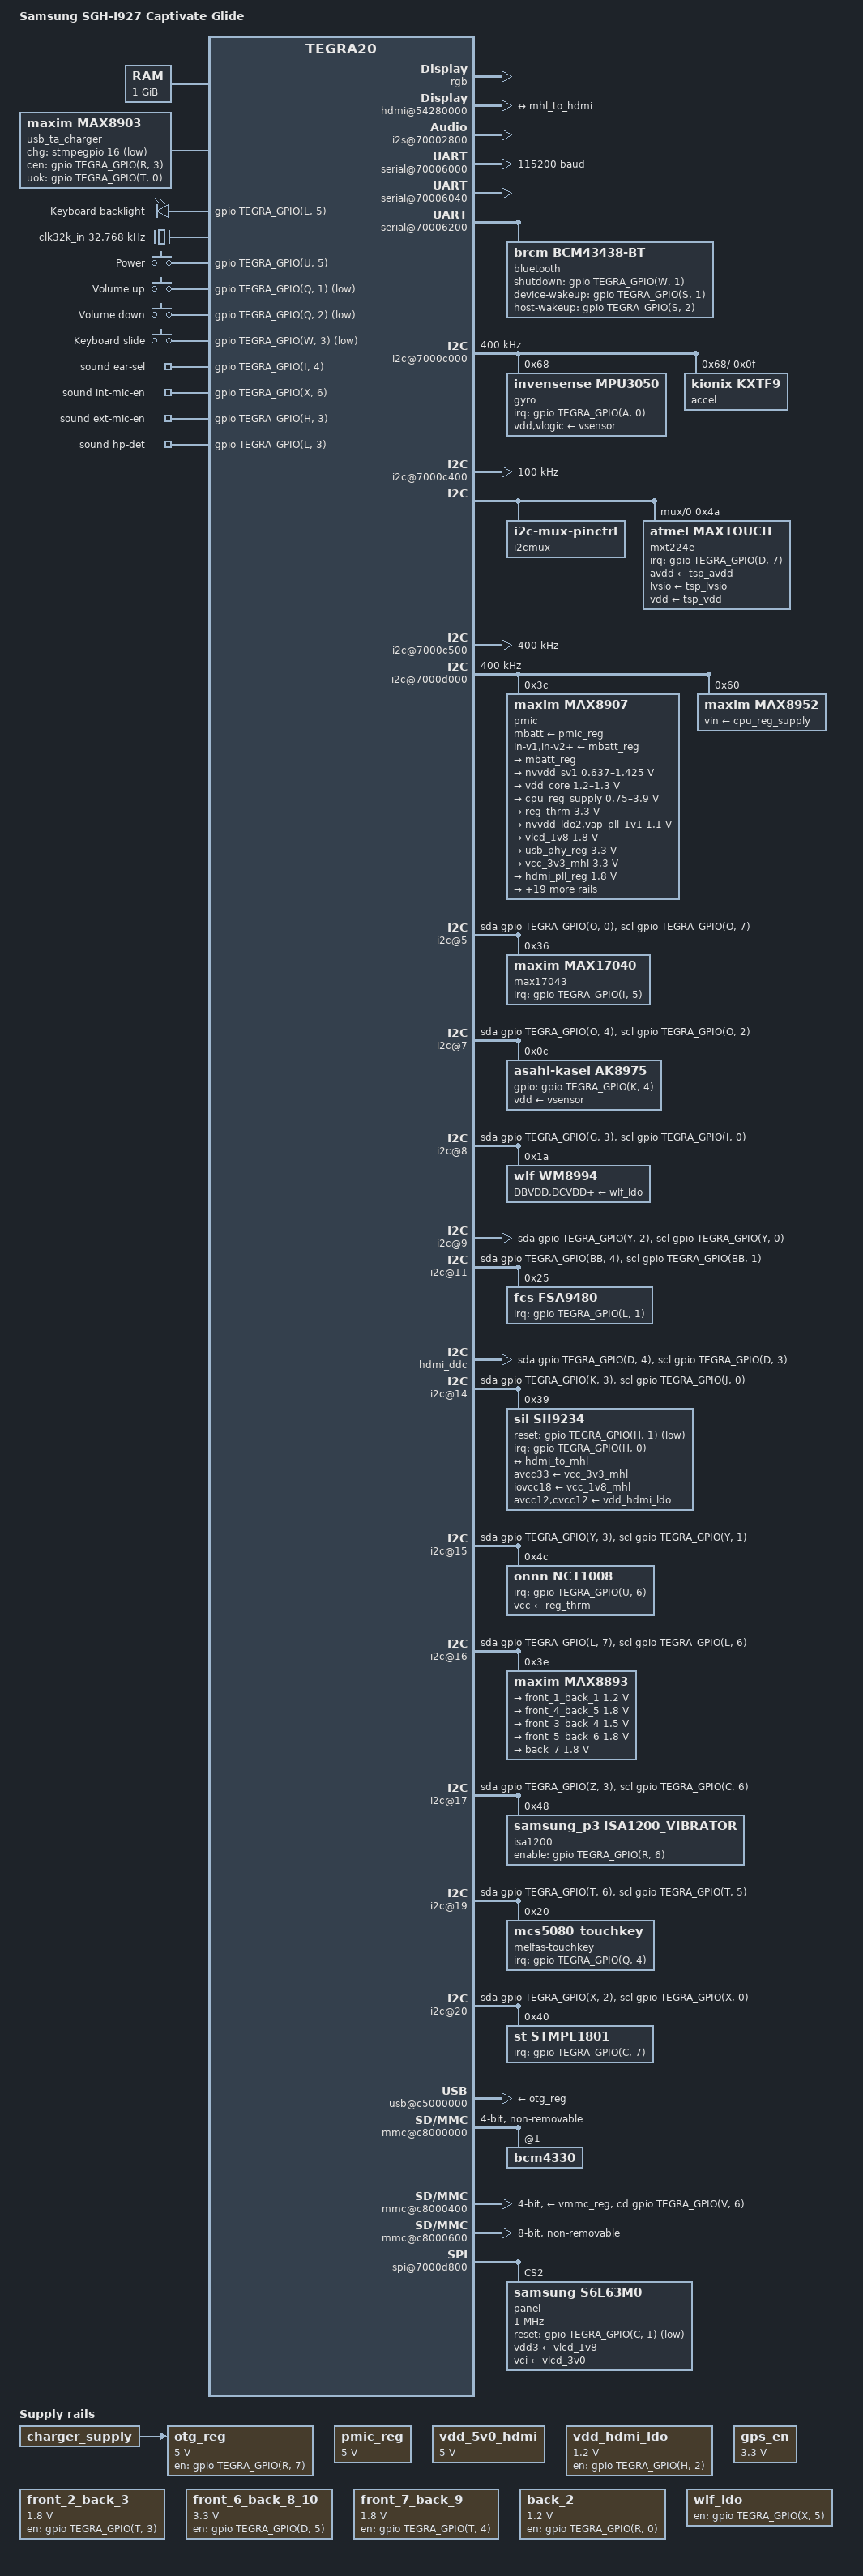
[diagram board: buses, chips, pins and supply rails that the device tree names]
// SPDX-License-Identifier: GPL-2.0
/dts-v1/;

#include <dt-bindings/input/input.h>
#include "tegra20.dtsi"

/ {
	model = "Samsung SGH-I927 Captivate Glide";
	compatible = "samsung,i927", "nvidia,tegra20";

	aliases {
		/* MAX8907 RTC seems to be broken here, so use Tegra's */
		rtc0 = "/rtc@7000e000";
		rtc1 = "/i2c@7000d000/max8907@3c";
		serial0 = &uartb;
		serial1 = &uarta;
		serial2 = &uartc;
	};

	chosen {
		stdout-path = "serial0:115200n8";
	};

	memory@0 {
		device_type = "memory";
		reg = <0x00000000 0x40000000>;
	};


	reserved-memory {
		#address-cells = <1>;
		#size-cells = <1>;
		ranges;

		/* bootloader reads/writes magic values in this region */
		bootloader_data: bootloader_data@1FF00000 {
			reg = <0x1FF00000 0x00100000>;
			no-map;
		};
	};

	host1x@50000000 {
		dc@54200000 {
			rgb {
				status = "okay";
				nvidia,panel = <&panel>;
			};
		};

		hdmi@54280000 {
			status = "okay";

			vdd-supply = <&hdmi_vdd_reg>;
			pll-supply = <&hdmi_pll_reg>;
			hdmi-supply = <&vdd_5v0_hdmi>;

			nvidia,ddc-i2c-bus = <&hdmi_ddc>;
			nvidia,hpd-gpio = <&gpio TEGRA_GPIO(N, 7) GPIO_ACTIVE_HIGH>;

			port {
				hdmi_to_mhl: endpoint {
					remote-endpoint = <&mhl_to_hdmi>;
				};
			};
		};
	};

	pinmux@70000014 {
		pinctrl-names = "default";
		pinctrl-0 = <&state_default>;

		state_default: pinmux {
			ata {
				nvidia,pins = "ata", "atc", "atd", "ate",
					"gmb", "gmd", "irrx", "irtx",
					"spid", "spie";
				nvidia,function = "gmi";
			};
			atb {
				nvidia,pins = "atb", "gma", "gme";
				nvidia,function = "sdio4";
			};
			cdev1 {
				nvidia,pins = "cdev1";
				nvidia,function = "plla_out";
			};
			cdev2 {
				nvidia,pins = "cdev2";
				nvidia,function = "pllp_out4";
			};
			crtp {
				nvidia,pins = "crtp";
				nvidia,function = "crt";
			};
			csus {
				nvidia,pins = "csus";
				nvidia,function = "vi_sensor_clk";
			};
			dap1 {
				nvidia,pins = "dap1";
				nvidia,function = "dap1";
			};
			dap2 {
				nvidia,pins = "dap2";
				nvidia,function = "dap2";
			};
			dap3 {
				nvidia,pins = "dap3";
				nvidia,function = "dap3";
			};
			dap4 {
				nvidia,pins = "dap4";
				nvidia,function = "dap4";
			};
			spif {
				nvidia,pins = "spif", "uac";
				nvidia,function = "rsvd4";
			};
			dta {
				nvidia,pins = "dta", "dtb", "dtc", "dtd", "dte";
				nvidia,function = "vi";
			};
			dtf {
				nvidia,pins = "dtf";
				nvidia,function = "i2c3";
			};
			gmc {
				nvidia,pins = "gmc";
				nvidia,function = "uartd";
			};
			gpu {
				nvidia,pins = "gpu", "uaa", "uab";
				nvidia,function = "uarta";
			};
			gpu7 {
				nvidia,pins = "gpu7";
				nvidia,function = "rtck";
			};
			gpv {
				nvidia,pins = "gpv", "slxa", "slxk";
				nvidia,function = "pcie";
			};
			hdint {
				nvidia,pins = "hdint", "spdi", "spdo";
				nvidia,function = "rsvd2";
			};
			i2cp {
				nvidia,pins = "i2cp";
				nvidia,function = "i2cp";
			};
			kbca {
				nvidia,pins = "kbca", "kbcb", "kbcc", "kbcd", "kbce", "kbcf";
				nvidia,function = "kbc";
			};
			lcsn {
				nvidia,pins = "lcsn", "lsck", "lsda", "lsdi";
				nvidia,function = "spi3";
			};
			ld0 {
				nvidia,pins = "ld0", "ld1", "ld2",
					"ld3", "ld4", "ld5", "ld6", "ld7",
					"ld8", "ld9", "ld10", "ld11", "ld12",
					"ld13", "ld14", "ld15", "ld16", "ld17",
					"ldc", "ldi", "lhp0", "lhp1", "lhp2",
					"lhs", "lm0", "lm1", "lpp", "lpw0",
					"lpw1", "lpw2", "lsc0", "lsc1", "lspi",
					"lvp0", "lvp1", "lvs";
				nvidia,function = "displaya";
			};
			owc {
				nvidia,pins = "owc";
				nvidia,function = "owr";
			};
			pmc {
				nvidia,pins = "pmc";
				nvidia,function = "pwr_on";
			};
			rm {
				nvidia,pins = "rm";
				nvidia,function = "i2c1";
			};
			sdb {
				nvidia,pins = "sdb", "sdc", "sdd";
				nvidia,function = "sdio3";
			};
			sdio1 {
				nvidia,pins = "sdio1";
				nvidia,function = "sdio1";
			};
			slxc {
				nvidia,pins = "slxc", "slxd";
				nvidia,function = "spi4";
			};
			spdi {
				nvidia,pins = "spdi", "spdo";
				nvidia,function = "rsvd2";
			};
			spig {
				nvidia,pins = "spig", "spih";
				nvidia,function = "spi2_alt";
			};
			uda {
				nvidia,pins = "uda";
				nvidia,function = "spi1";
			};
			uad {
				nvidia,pins = "uad";
				nvidia,function = "irda";
			};
			uca {
				nvidia,pins = "uca", "ucb";
				nvidia,function = "uartc";
			};
			spia {
				nvidia,pins = "spia", "spib", "spic";
				nvidia,function = "spi2";
			};
			conf_cdev1 {
				nvidia,pins = "cdev1", "cdev2", "dap1", "dap2",
					"dap3", "dap4", "ddc", "dte", "gma",
					"gmc", "gmd", "gme", "gpu7", "gpv",
					"i2cp", "pta", "rm", "sdio1", // "sdb",
					"uac", "uda";
				nvidia,pull = <TEGRA_PIN_PULL_NONE>;
				nvidia,tristate = <TEGRA_PIN_DISABLE>;
			};
			conf_ck32 {
				nvidia,pins = "ck32", "ddrc", "pmca", "pmcb",
					"pmcc", "pmcd", "xm2c", "xm2d";
				nvidia,pull = <TEGRA_PIN_PULL_NONE>;
			};
			conf_crtp {
				nvidia,pins = "crtp";
				nvidia,pull = <TEGRA_PIN_PULL_NONE>;
				nvidia,tristate = <TEGRA_PIN_ENABLE>;
			};
			conf_csus {
				nvidia,pins = "csus", "spid";
				nvidia,pull = <TEGRA_PIN_PULL_DOWN>;
				nvidia,tristate = <TEGRA_PIN_ENABLE>;
			};
			conf_ata {
				nvidia,pins = "ata", "atb", "atc", "ate",
					"dtf", "gmb", "gpu", "irrx", "irtx",
					"kbca", "kbcc", "kbcd", "kbce",
					"kbcf", "sdc", "sdd", "spdi",
					"spib", "spig", "spih", "uaa", "uab",
					"uad", "uca", "ucb";
				nvidia,pull = <TEGRA_PIN_PULL_UP>;
				nvidia,tristate = <TEGRA_PIN_DISABLE>;
			};
			conf_owc {
				nvidia,pins = "owc";
				nvidia,pull = <TEGRA_PIN_PULL_UP>;
				nvidia,tristate = <TEGRA_PIN_ENABLE>;
			};
			conf_hdint {
				nvidia,pins = "hdint", "lcsn", "lhs", "lm0",
					"lm1", "lpw1", "lsc0", "lsck", "lsda",
					"lsdi", "lspi", "lvs", "pmc", "sdb",
					"ldc", "lpw0", "lpw2", "lsc1", "ld0",
					"ld1", "ld10", "ld11", "ld12", "ld13",
					"ld14", "ld15", "ld16", "ld17", "ld2",
					"ld3", "ld4", "ld5", "ld6", "ld7",
					"ld8", "ld9", "ldi", "lhp0", "lhp1",
					"lhp2", "lpp", "lvp1";
				nvidia,tristate = <TEGRA_PIN_DISABLE>;
			};
			conf_lvp0 {
				nvidia,pins = "lvp0";
				nvidia,tristate = <TEGRA_PIN_ENABLE>;
			};
			conf_atd {
				nvidia,pins = "atd", "dta", "dtb", "dtc",
					"kbcb", "slxa", "slxc", "slxd", "slxk",
					"spdo", "spia", "spic", "spie", "spif";
				nvidia,pull = <TEGRA_PIN_PULL_DOWN>;
				nvidia,tristate = <TEGRA_PIN_DISABLE>;
			};
			conf_pmce {
				nvidia,pins = "pmce";
				nvidia,pull = <TEGRA_PIN_PULL_DOWN>;
			};

			drive_ao1 {
				nvidia,pins = "drive_ao1";
				nvidia,high-speed-mode = <TEGRA_PIN_DISABLE>;
				nvidia,schmitt = <TEGRA_PIN_ENABLE>;
				nvidia,low-power-mode = <TEGRA_PIN_LP_DRIVE_DIV_1>;
				nvidia,pull-down-strength = <31>;
				nvidia,pull-up-strength = <31>;
				nvidia,slew-rate-rising = <TEGRA_PIN_SLEW_RATE_SLOWEST>;
				nvidia,slew-rate-falling = <TEGRA_PIN_SLEW_RATE_SLOWEST>;
			};

			drive_at1 {
				nvidia,pins = "drive_at1";
				nvidia,high-speed-mode = <TEGRA_PIN_DISABLE>;
				nvidia,schmitt = <TEGRA_PIN_ENABLE>;
				nvidia,low-power-mode = <TEGRA_PIN_LP_DRIVE_DIV_1>;
				nvidia,pull-down-strength = <31>;
				nvidia,pull-up-strength = <31>;
				nvidia,slew-rate-rising = <TEGRA_PIN_SLEW_RATE_SLOWEST>;
				nvidia,slew-rate-falling = <TEGRA_PIN_SLEW_RATE_SLOWEST>;
			};

			drive_dbg {
				nvidia,pins = "drive_dbg";
				nvidia,high-speed-mode = <TEGRA_PIN_DISABLE>;
				nvidia,schmitt = <TEGRA_PIN_ENABLE>;
				nvidia,low-power-mode = <TEGRA_PIN_LP_DRIVE_DIV_1>;
				nvidia,pull-down-strength = <31>;
				nvidia,pull-up-strength = <31>;
				nvidia,slew-rate-rising = <TEGRA_PIN_SLEW_RATE_SLOWEST>;
				nvidia,slew-rate-falling = <TEGRA_PIN_SLEW_RATE_SLOWEST>;
			};

			drive_vi1 {
				nvidia,pins = "drive_vi1";
				nvidia,high-speed-mode = <TEGRA_PIN_DISABLE>;
				nvidia,schmitt = <TEGRA_PIN_ENABLE>;
				nvidia,low-power-mode = <TEGRA_PIN_LP_DRIVE_DIV_1>;
				nvidia,pull-down-strength = <31>;
				nvidia,pull-up-strength = <31>;
				nvidia,slew-rate-rising = <TEGRA_PIN_SLEW_RATE_SLOWEST>;
				nvidia,slew-rate-falling = <TEGRA_PIN_SLEW_RATE_SLOWEST>;
			};

			drive_vi2 {
				nvidia,pins = "drive_vi2";
				nvidia,high-speed-mode = <TEGRA_PIN_DISABLE>;
				nvidia,schmitt = <TEGRA_PIN_ENABLE>;
				nvidia,low-power-mode = <TEGRA_PIN_LP_DRIVE_DIV_1>;
				nvidia,pull-down-strength = <31>;
				nvidia,pull-up-strength = <31>;
				nvidia,slew-rate-rising = <TEGRA_PIN_SLEW_RATE_SLOWEST>;
				nvidia,slew-rate-falling = <TEGRA_PIN_SLEW_RATE_SLOWEST>;
			};

			drive_sdio1 {
				nvidia,pins = "drive_sdio1";
				nvidia,high-speed-mode = <TEGRA_PIN_DISABLE>;
				nvidia,schmitt = <TEGRA_PIN_ENABLE>;
				nvidia,low-power-mode = <TEGRA_PIN_LP_DRIVE_DIV_1>;
				nvidia,pull-down-strength = <31>;
				nvidia,pull-up-strength = <31>;
				nvidia,slew-rate-rising = <TEGRA_PIN_SLEW_RATE_SLOWEST>;
				nvidia,slew-rate-falling = <TEGRA_PIN_SLEW_RATE_SLOWEST>;
			};

			drive_ddc {
				nvidia,pins = "drive_ddc";
				nvidia,high-speed-mode = <TEGRA_PIN_DISABLE>;
				nvidia,schmitt = <TEGRA_PIN_ENABLE>;
				nvidia,low-power-mode = <TEGRA_PIN_LP_DRIVE_DIV_1>;
				nvidia,pull-down-strength = <31>;
				nvidia,pull-up-strength = <31>;
				nvidia,slew-rate-rising = <TEGRA_PIN_SLEW_RATE_FASTEST>;
				nvidia,slew-rate-falling = <TEGRA_PIN_SLEW_RATE_FASTEST>;
			};

			/*
			 * DTF, I2CP and RM drive pingroups originaly specified, but they're
			 * nonexistent here...
			 */

			drive_dap2 {
				nvidia,pins = "drive_dap2";
				nvidia,high-speed-mode = <TEGRA_PIN_ENABLE>;
				nvidia,schmitt = <TEGRA_PIN_ENABLE>;
				nvidia,low-power-mode = <TEGRA_PIN_LP_DRIVE_DIV_1>;
				nvidia,pull-down-strength = <31>;
				nvidia,pull-up-strength = <31>;
				nvidia,slew-rate-rising = <TEGRA_PIN_SLEW_RATE_SLOWEST>;
				nvidia,slew-rate-falling = <TEGRA_PIN_SLEW_RATE_SLOWEST>;
			};

			drive_dap3 {
				nvidia,pins = "drive_dap3";
				nvidia,high-speed-mode = <TEGRA_PIN_ENABLE>;
				nvidia,schmitt = <TEGRA_PIN_ENABLE>;
				nvidia,low-power-mode = <TEGRA_PIN_LP_DRIVE_DIV_1>;
				nvidia,pull-down-strength = <31>;
				nvidia,pull-up-strength = <31>;
				nvidia,slew-rate-rising = <TEGRA_PIN_SLEW_RATE_SLOWEST>;
				nvidia,slew-rate-falling = <TEGRA_PIN_SLEW_RATE_SLOWEST>;
			};
		};

		state_i2cmux_ddc: pinmux_i2cmux_ddc {
			ddc {
				nvidia,pins = "ddc";
				nvidia,function = "i2c2";
			};
			pta {
				nvidia,pins = "pta";
				nvidia,function = "rsvd4";
			};
		};

		state_i2cmux_pta: pinmux_i2cmux_pta {
			ddc {
				nvidia,pins = "ddc";
				nvidia,function = "rsvd4";
			};
			pta {
				nvidia,pins = "pta";
				nvidia,function = "i2c2";
			};
		};

		state_i2cmux_idle: pinmux_i2cmux_idle {
			ddc {
				nvidia,pins = "ddc";
				nvidia,function = "rsvd4";
			};
			pta {
				nvidia,pins = "pta";
				nvidia,function = "rsvd4";
			};
		};

		state_isa1200_on: state_isa1200_on {
			cdev2 {
				nvidia,pins = "cdev2";
				nvidia,pull = <TEGRA_PIN_PULL_UP>;
				nvidia,tristate = <TEGRA_PIN_DISABLE>;
			};
		};

		state_isa1200_off: state_isa1200_off {
			cdev2 {
				nvidia,pins = "cdev2";
				nvidia,pull = <TEGRA_PIN_PULL_NONE>;
				nvidia,tristate = <TEGRA_PIN_ENABLE>;
			};
		};

	};

	i2s@70002800 {
		status = "okay";
	};

	// GPS
	serial@70006000 {
		// I get a DMA error when HSUART is enabled, fall back to 8250
		// Also I get mysterious timed-out errors, no matter what GPIOs are.
		// compatible = "nvidia,tegra20-hsuart";
		status = "okay";
		current-speed = <115200>;
		// current-speed = <460800>;
		// current-speed = <9600>;

		/*
		 * Wakeup GPIO is needed for kernel driver to work,
		 * but we don't have one... There's GPIO_GPS_CNTL in
		 * original kernel, but it's not used.
		 */
#if 0
		gnss {
			// Actual chip is unknown
			// (I don't want to teardown this thing)
			compatible = "wi2wi,w2sg0084i";

			sirf,onoff-gpios = <&gpio TEGRA_GPIO(N, 6) GPIO_ACTIVE_HIGH>;
			// reset GPIO: B2
			// sirf,onoff-gpios = <&gpio TEGRA_GPIO(B, 2) GPIO_ACTIVE_LOW>;
			// Also depends on this, but no way to specify it
			clocks = <&tegra_pmc TEGRA_PMC_CLK_BLINK>;
			vcc-supply = <&gps_en>;
		};
#endif
	};

	// Debug console
	serial@70006040 {
		status = "okay";
	};

	// Bluetooth
	serial@70006200 {
		compatible = "nvidia,tegra20-hsuart";
		status = "okay";

		bluetooth {
			// can be changed to 4330 in linux v5.0
			compatible = "brcm,bcm43438-bt";
			max-speed = <921600>;
			shutdown-gpios = <&gpio TEGRA_GPIO(W, 1) GPIO_ACTIVE_HIGH>;
			device-wakeup-gpios = <&gpio TEGRA_GPIO(S, 1) GPIO_ACTIVE_HIGH>;
			host-wakeup-gpios = <&gpio TEGRA_GPIO(S, 2) GPIO_ACTIVE_HIGH>;
			clocks = <&tegra_car TEGRA20_CLK_UARTC>;
			clock-names = "uartc";

		};
	};

	serial@70006040 {
		status = "okay";
	};

	i2c@7000c000 {
		status = "okay";
		clock-frequency = <400000>;

		gyro@68 {
			compatible = "invensense,mpu3050";
			reg = <0x68>;
			interrupt-parent = <&gpio>;
			interrupts = <TEGRA_GPIO(A, 0) IRQ_TYPE_EDGE_FALLING>;
			mount-matrix = "0", "1", "0",
				"-1", "0", "0",
				"0", "0", "-1";
			vdd-supply = <&vsensor>;
			vlogic-supply = <&vsensor>;

			i2c-gate {
				#address-cells = <1>;
				#size-cells = <0>;

				accel@f {
					compatible = "kionix,kxtf9";
					reg = <0xf>;
					mount-matrix = "1", "0", "0",
						"0", "1", "0",
						"0", "0", "1";
				};
			};
		};
	};

	i2c@7000c400 {
		status = "okay";
		clock-frequency = <100000>;
	};

	i2cmux {
		compatible = "i2c-mux-pinctrl";
		#address-cells = <1>;
		#size-cells = <0>;

		i2c-parent = <&{/i2c@7000c400}>;

		pinctrl-names = "ddc", "pta", "idle";
		pinctrl-0 = <&state_i2cmux_ddc>;
		pinctrl-1 = <&state_i2cmux_pta>;
		pinctrl-2 = <&state_i2cmux_idle>;

		i2c@0 {
			reg = <0>;
			#address-cells = <1>;
			#size-cells = <0>;

			mxt224e@4a {
				compatible = "atmel,maxtouch";
				reg = <0x4a>;
				interrupt-parent = <&gpio>;
				interrupts = <TEGRA_GPIO(D, 7) IRQ_TYPE_LEVEL_LOW>;

				avdd-supply = <&tsp_avdd>;
				lvsio-supply = <&tsp_lvsio>;
				vdd-supply = <&tsp_vdd>;
			};
		};

		// Unused?
		i2c@1 {
			reg = <1>;
			#address-cells = <1>;
			#size-cells = <0>;
		};
	};

	i2c@7000c500 {
		status = "okay";
		clock-frequency = <400000>;

		/* Not supported - no DT binding */
		/* m5mo@1f {
			reg = <0x1f>;
			reset-gpios = <&gpio TEGRA_GPIO(D, 2) GPIO_ACTIVE_HIGH>;
		}; */

		/* Not supported - no DT binding */
		/* s5k6aafx@3c {
			reg = <0x3c>;
		}; */
	};

	i2c@7000d000 {
		status = "okay";
		clock-frequency = <400000>;

		pmic: max8907@3c {
			compatible = "maxim,max8907";
			reg = <0x3c>;
			/*
			 * Ints seem to be broken, even on downstream -
			 * on Whistler board, which uses the same PMIC,
			 * they're marked as LEVEL_HIGH, however, this
			 * makes them always-on, so we get something
			 * like "irq 301: nobody cared" - no interrupt
			 * status reg set, BUT irq line is asserted, and
			 * I don't know how to clear it. Probably it
			 * should be triggered on edge. Downstream
			 * charger driver triggers charging interrupt
			 * on TRIGGER_RISING. Oh, no docs available
			 * on the net.
			 *
			 * Downstream kernel also has broken alarm, but
			 * time readings are correct.
			 *
			 * As a workaround, we use internal Tegra RTC
			 * as a main RTC.
			 */
			interrupts = <GIC_SPI 86 IRQ_TYPE_EDGE_RISING>;

			maxim,system-power-controller;

			mbatt-supply = <&pmic_reg>;
			in-v1-supply = <&mbatt_reg>;
			in-v2-supply = <&mbatt_reg>;
			in-v3-supply = <&mbatt_reg>;
			in1-supply = <&mbatt_reg>;
			in2-supply = <&mbatt_reg>;
			in3-supply = <&mbatt_reg>;
			in4-supply = <&mbatt_reg>;
			in5-supply = <&mbatt_reg>;
			in6-supply = <&mbatt_reg>;
			in7-supply = <&mbatt_reg>;
			in8-supply = <&mbatt_reg>;
			in9-supply = <&mbatt_reg>;
			in10-supply = <&mbatt_reg>;
			in11-supply = <&mbatt_reg>;
			in12-supply = <&mbatt_reg>;
			in13-supply = <&mbatt_reg>;
			in14-supply = <&mbatt_reg>;
			in15-supply = <&mbatt_reg>;
			in16-supply = <&mbatt_reg>;
			in17-supply = <&mbatt_reg>;
			in18-supply = <&mbatt_reg>;
			in19-supply = <&mbatt_reg>;
			in20-supply = <&mbatt_reg>;

			regulators {
				mbatt_reg: mbatt {
					regulator-name = "vbat_pmu";
					regulator-always-on;
				};

				sd1 {
					regulator-name = "nvvdd_sv1";
					regulator-min-microvolt = <637500>;
					regulator-max-microvolt = <1425000>;
					regulator-always-on;
					regulator-boot-on;
				};

				vdd_core: sd2 {
					regulator-name = "nvvdd_sv2,vdd_core,vdd_aon";
					regulator-min-microvolt = <1200000>;
					regulator-max-microvolt = <1300000>;
					regulator-always-on;
					regulator-boot-on;
				};

				cpu_reg_supply: sd3 {
					regulator-name = "nvvdd_sv3";
					regulator-min-microvolt = <750000>;
					regulator-max-microvolt = <3900000>;
					regulator-always-on;
					regulator-boot-on;
				};

				reg_thrm: ldo1 {
					regulator-name = "nvvdd_ldo1,vadc_3v3";
					regulator-min-microvolt = <3300000>;
					regulator-max-microvolt = <3300000>;
					regulator-always-on;
					regulator-boot-on;
				};

				ldo2 {
					regulator-name = "nvvdd_ldo2,vap_pll_1v1";
					regulator-min-microvolt = <1100000>;
					regulator-max-microvolt = <1100000>;
					regulator-always-on;
					regulator-boot-on;
				};

				vlcd_1v8: ldo3 {
					regulator-name = "nvvdd_ldo3,vlcd_1v8";
					regulator-min-microvolt = <1800000>;
					regulator-max-microvolt = <1800000>;
				};

				usb_phy_reg: ldo4 {
					regulator-name = "nvvdd_ldo4,vap_usb_3v3";
					regulator-min-microvolt = <3300000>;
					regulator-max-microvolt = <3300000>;
				};

				vcc_3v3_mhl: ldo5 {
					regulator-name = "nvvdd_ldo5,vcc_3v3_mhl";
					regulator-min-microvolt = <3300000>;
					regulator-max-microvolt = <3300000>;
				};

				hdmi_pll_reg: ldo6 {
					regulator-name = "nvvdd_ldo6,avdd_hdmi_pll_1v8";
					regulator-min-microvolt = <1800000>;
					regulator-max-microvolt = <1800000>;
				};

				vcc_1v8_mhl: ldo7 {
					regulator-name = "nvvdd_ldo7,vcc_1v8_mhl";
					regulator-min-microvolt = <1800000>;
					regulator-max-microvolt = <1800000>;
				};

				ldo8 {
					regulator-name = "nvvdd_ldo8,led_a_2v8";
					regulator-min-microvolt = <2800000>;
					regulator-max-microvolt = <2800000>;
				};

				ldo9 {
					regulator-name = "nvvdd_ldo9";
					regulator-min-microvolt = <3300000>;
					regulator-max-microvolt = <3300000>;
				};

				vsensor: ldo10 {
					regulator-name = "nvvdd_ldo10,vsensor_1v8";
					regulator-min-microvolt = <1800000>;
					regulator-max-microvolt = <1800000>;
				};

				ldo11 {
					regulator-name = "nvvdd_ldo11,vcc_2v8_pda";
					regulator-min-microvolt = <2800000>;
					regulator-max-microvolt = <2800000>;
					regulator-always-on;
					regulator-boot-on;
				};

				vlcd_3v0: ldo12 {
					regulator-name = "nvvdd_ldo12,vlcd_3v0";
					regulator-min-microvolt = <3000000>;
					regulator-max-microvolt = <3000000>;
				};

				tsp_avdd: ldo13 {
					regulator-name = "nvvdd_ldo13,tsp_avdd_3v3";
					regulator-min-microvolt = <3300000>;
					regulator-max-microvolt = <3300000>;
					regulator-always-on;
				};

				ldo14 {
					regulator-name = "nvvdd_ldo14";
					regulator-min-microvolt = <2800000>;
					regulator-max-microvolt = <2800000>;
				};

				tsp_lvsio: ldo15 {
					regulator-name = "nvvdd_ldo15,tsp_vdd_lvsio";
					regulator-min-microvolt = <1800000>;
					regulator-max-microvolt = <1800000>;
					regulator-always-on;
				};

				vmmc_reg: ldo16 {
					regulator-name = "nvvdd_ldo16,vtf_3v3,vmmc";
					regulator-min-microvolt = <3300000>;
					regulator-max-microvolt = <3300000>;
				};

				ldo17 {
					regulator-name = "nvvdd_ldo17,vap_mipi_1v2";
					regulator-min-microvolt = <1200000>;
					regulator-max-microvolt = <1200000>;
				};

				tsp_vdd: ldo18 {
					regulator-name = "nvvdd_ldo18,tsp_vdd_1v8";
					regulator-min-microvolt = <1800000>;
					regulator-max-microvolt = <1800000>;
					regulator-always-on;
				};

				hdmi_vdd_reg: ldo19 {
					regulator-name = "nvvdd_ldo19,avdd_hdmi_3v3";
					regulator-min-microvolt = <3300000>;
					regulator-max-microvolt = <3300000>;
				};

				ldo20 {
					regulator-name = "nvvdd_ldo20,t_key_3v0";
					regulator-min-microvolt = <3000000>;
					regulator-max-microvolt = <3000000>;
					regulator-always-on;
					regulator-boot-on;
				};

				out5v {
					regulator-name = "usb0_vbus_reg";
					regulator-min-microvolt = <5000000>;
					regulator-max-microvolt = <5000000>;
					regulator-always-on;
					regulator-boot-on;
				};

				out33v {
					regulator-name = "out33v";
				};

				bbat {
					regulator-name = "bbat";
				};

				sdby {
					regulator-name = "sdby";
				};

				vrtc {
					regulator-name = "vrtc";
				};
			};
		};

		max8952@60 {
			compatible = "maxim,max8952";
			reg = <0x60>;
			max8952,dvs-mode-microvolt = <1100000>, <1100000>, <1100000>, <1100000>;
			max8952,default-mode = <1>;
			vin-supply = <&cpu_reg_supply>;

			regulator-name = "vdd_arm";
			regulator-min-microvolt = <770000>;
			regulator-max-microvolt = <1100000>;
			regulator-always-on;
			regulator-boot-on;
		};
	};

	i2c@5 {
		compatible = "i2c-gpio";
		sda-gpios = <&gpio TEGRA_GPIO(O, 0) (GPIO_ACTIVE_HIGH | GPIO_OPEN_DRAIN)>;
		scl-gpios = <&gpio TEGRA_GPIO(O, 7) (GPIO_ACTIVE_HIGH | GPIO_OPEN_DRAIN)>;
		i2c-gpio,delay-us = <5>;
		#address-cells = <1>;
		#size-cells = <0>;

		// Use 17040 as 17043 is compatible - no ALRT feature
		max17043@36 {
			compatible = "maxim,max17040";
			reg = <0x36>;
			interrupt-parent = <&gpio>;
			interrupts = <TEGRA_GPIO(I, 5) IRQ_TYPE_LEVEL_HIGH>;
			power-supplies = <&usb_ta_charger>;
			/* Fuel alert - not supported (for now?) */
			//interrupt-parent = <&gpio>;
			//interrupts = <TEGRA_GPIO(I, 5) IRQ_TYPE_LEVEL_HIGH>;
		};
	};

	usb_ta_charger: max8922-charger {
		compatible = "maxim,max8903";
		chg-gpios = <&stmpegpio 16 GPIO_ACTIVE_LOW>;
		cen-gpios = <&gpio TEGRA_GPIO(R, 3) GPIO_ACTIVE_HIGH>;
		uok-gpios = <&gpio TEGRA_GPIO(T, 0) GPIO_ACTIVE_HIGH>;
		/*
		 * Original sources also use FSA9480 for USB charger
		 * detection, but it's on extcon and not GPIO,
		 * so skip it since dok (GPIO_TA_nCONNECTED) works fine.
		 * (specified as uok since USB is detected)
		 */

		charger_supply: otg-vbus {};
        };

	i2c@7 {
		compatible = "i2c-gpio";
		sda-gpios = <&gpio TEGRA_GPIO(O, 4) (GPIO_ACTIVE_HIGH | GPIO_OPEN_DRAIN)>;
		scl-gpios = <&gpio TEGRA_GPIO(O, 2) (GPIO_ACTIVE_HIGH | GPIO_OPEN_DRAIN)>;
		i2c-gpio,delay-us = <2>;
		#address-cells = <1>;
		#size-cells = <0>;

		ak8975@c {
			compatible = "asahi-kasei,ak8975";
			reg = <0xc>;
			gpios = <&gpio TEGRA_GPIO(K, 4) GPIO_ACTIVE_HIGH>;
			vdd-supply = <&vsensor>;
		};
	};

	i2c@8 {
		compatible = "i2c-gpio";
		sda-gpios = <&gpio TEGRA_GPIO(G, 3) (GPIO_ACTIVE_HIGH | GPIO_OPEN_DRAIN)>;
		scl-gpios = <&gpio TEGRA_GPIO(I, 0) (GPIO_ACTIVE_HIGH | GPIO_OPEN_DRAIN)>;
		i2c-gpio,delay-us = <5>;
		#address-cells = <1>;
		#size-cells = <0>;

		wm8994: wm8994@1a {
			compatible = "wlf,wm8994";
			reg = <0x1a>;

			DBVDD-supply = <&wlf_ldo>;
			DCVDD-supply = <&wlf_ldo>;
			AVDD1-supply = <&wlf_ldo>;
			AVDD2-supply = <&wlf_ldo>;
			CPVDD-supply = <&wlf_ldo>;
			SPKVDD1-supply = <&wlf_ldo>;
			SPKVDD2-supply = <&wlf_ldo>;

			gpio-controller;
			#gpio-cells = <2>;

			/* Probably doesn't make sense because typoed in driver */
			wlf,ldoena-always-driven;

			wlf,gpio-cfg = <0xA101 0 0 0 0 0 0 0 0 0 0>;
		};
	};

	i2c@9 {
		compatible = "i2c-gpio";
		sda-gpios = <&gpio TEGRA_GPIO(Y, 2) (GPIO_ACTIVE_HIGH | GPIO_OPEN_DRAIN)>;
		scl-gpios = <&gpio TEGRA_GPIO(Y, 0) (GPIO_ACTIVE_HIGH | GPIO_OPEN_DRAIN)>;
		i2c-gpio,delay-us = <2>;
		#address-cells = <1>;
		#size-cells = <0>;
		interrupt-parent = <&gpio>;
		interrupts = <TEGRA_GPIO(O, 1) IRQ_TYPE_LEVEL_HIGH>;

		/* Not supported - no driver */
		/* cm3663@11 {
			reg = <0x11>;
		}; */
	};

	i2c@11 {
		compatible = "i2c-gpio";
		sda-gpios = <&gpio TEGRA_GPIO(BB, 4) (GPIO_ACTIVE_HIGH | GPIO_OPEN_DRAIN)>;
		scl-gpios = <&gpio TEGRA_GPIO(BB, 1) (GPIO_ACTIVE_HIGH | GPIO_OPEN_DRAIN)>;
		i2c-gpio,delay-us = <5>;
		#address-cells = <1>;
		#size-cells = <0>;

		fsa9480@25 {
			compatible = "fcs,fsa9480";
			reg = <0x25>;
			interrupt-parent = <&gpio>;
			interrupts = <TEGRA_GPIO(L, 1) IRQ_TYPE_LEVEL_HIGH>;
		};
	};

	hdmi_ddc: i2c@13 {
		compatible = "i2c-gpio";
		sda-gpios = <&gpio TEGRA_GPIO(D, 4) (GPIO_ACTIVE_HIGH | GPIO_OPEN_DRAIN)>;
		scl-gpios = <&gpio TEGRA_GPIO(D, 3) (GPIO_ACTIVE_HIGH | GPIO_OPEN_DRAIN)>;
		i2c-gpio,delay-us = <5>;
		#address-cells = <1>;
		#size-cells = <0>;
	};

	i2c@14 {
		compatible = "i2c-gpio";
		sda-gpios = <&gpio TEGRA_GPIO(K, 3) (GPIO_ACTIVE_HIGH | GPIO_OPEN_DRAIN)>;
		scl-gpios = <&gpio TEGRA_GPIO(J, 0) (GPIO_ACTIVE_HIGH | GPIO_OPEN_DRAIN)>;
		i2c-gpio,delay-us = <5>;
		#address-cells = <1>;
		#size-cells = <0>;

		sii9234@39 {
			compatible = "sil,sii9234";
			reg = <0x39>;
			avcc33-supply = <&vcc_3v3_mhl>;
			iovcc18-supply = <&vcc_1v8_mhl>;
			avcc12-supply = <&vdd_hdmi_ldo>;
			cvcc12-supply = <&vdd_hdmi_ldo>;
			interrupt-parent = <&gpio>;
			interrupts = <TEGRA_GPIO(H, 0) IRQ_TYPE_LEVEL_HIGH>;
			reset-gpios = <&gpio TEGRA_GPIO(H, 1) GPIO_ACTIVE_LOW>;

			port {
				mhl_to_hdmi: endpoint {
					remote-endpoint = <&hdmi_to_mhl>;
				};
			};
		};
	};

	i2c@15 {
		compatible = "i2c-gpio";
		sda-gpios = <&gpio TEGRA_GPIO(Y, 3) (GPIO_ACTIVE_HIGH | GPIO_OPEN_DRAIN)>;
		scl-gpios = <&gpio TEGRA_GPIO(Y, 1) (GPIO_ACTIVE_HIGH | GPIO_OPEN_DRAIN)>;
		i2c-gpio,delay-us = <5>;
		#address-cells = <1>;
		#size-cells = <0>;
		interrupt-parent = <&gpio>;
		interrupts = <TEGRA_GPIO(U, 6) IRQ_TYPE_LEVEL_HIGH>;

		nct1008@4c {
			compatible = "onnn,nct1008";
			reg = <0x4c>;
			vcc-supply = <&reg_thrm>;
			interrupt-parent = <&gpio>;
			interrupts = <TEGRA_GPIO(U, 6) IRQ_TYPE_LEVEL_LOW>;
			#thermal-sensor-cells = <1>;
		};
	};

	i2c@16 {
		compatible = "i2c-gpio";
		sda-gpios = <&gpio TEGRA_GPIO(L, 7) (GPIO_ACTIVE_HIGH | GPIO_OPEN_DRAIN)>;
		scl-gpios = <&gpio TEGRA_GPIO(L, 6) (GPIO_ACTIVE_HIGH | GPIO_OPEN_DRAIN)>;
		i2c-gpio,delay-us = <5>;
		#address-cells = <1>;
		#size-cells = <0>;

		max8893@3e {
			compatible = "maxim,max8893";
			reg = <0x3e>;

			regulators {
				/* Front camera - s5k6aafx, back - m5mo */
				/* Numbers used to indicate the sequence */
				front_1_back_1: buck {
					regulator-name = "cam_isp_core_1v2";
					regulator-min-microvolt = <1200000>;
					regulator-max-microvolt = <1200000>;
				};

				front_4_back_5: ldo1 {
					regulator-name = "vt_io_1v8,cam_isp_1v8";
					regulator-min-microvolt = <1800000>;
					regulator-max-microvolt = <1800000>;
				};

				front_3_back_4: ldo2 {
					regulator-name = "vt_core_1v5";
					regulator-min-microvolt = <1500000>;
					regulator-max-microvolt = <1500000>;
				};

				front_5_back_6: ldo3 {
					regulator-name = "vt_cam_1v8,vt_sensor_io_1v8";
					regulator-min-microvolt = <1800000>;
					regulator-max-microvolt = <1800000>;
				};

				ldo4 {
					/* not used */
				};

				back_7: ldo5 {
					regulator-name = "cam_sensor_io_1v8";
					regulator-min-microvolt = <1800000>;
					regulator-max-microvolt = <1800000>;
				};
			};
		};
	};

	i2c@17 {
		compatible = "i2c-gpio";
		sda-gpios = <&gpio TEGRA_GPIO(Z, 3) (GPIO_ACTIVE_HIGH | GPIO_OPEN_DRAIN)>;
		scl-gpios = <&gpio TEGRA_GPIO(C, 6) (GPIO_ACTIVE_HIGH | GPIO_OPEN_DRAIN)>;
		i2c-gpio,delay-us = <5>;
		#address-cells = <1>;
		#size-cells = <0>;

		isa1200@48 {
			compatible = "samsung_p3,isa1200_vibrator";
			reg = <0x48>;
			enable-gpio = <&gpio TEGRA_GPIO(R, 6) GPIO_ACTIVE_HIGH>;

			max-timeout = <10000>;
			ctrl0 = <17>;
			ctrl1 = <192>;
			ctrl2 = <0>;
			ctrl4 = <0>;
			pll = <0x23>;
			duty = <0x85>;
			period = <0x86>;

			clocks = <&tegra_car TEGRA20_CLK_CDEV2>;
			clock-names = "vibrator-clk";

			pinctrl-names = "on", "off";
			pinctrl-0 = <&state_isa1200_on>;
			pinctrl-1 = <&state_isa1200_off>;
		};
	};

	i2c@19 {
		compatible = "i2c-gpio";
		sda-gpios = <&gpio TEGRA_GPIO(T, 6) (GPIO_ACTIVE_HIGH | GPIO_OPEN_DRAIN)>;
		scl-gpios = <&gpio TEGRA_GPIO(T, 5) (GPIO_ACTIVE_HIGH | GPIO_OPEN_DRAIN)>;
		i2c-gpio,delay-us = <5>;
		#address-cells = <1>;
		#size-cells = <0>;

		melfas-touchkey@20 {
			compatible = "mcs5080_touchkey";
			reg = <0x20>;
			interrupt-parent = <&gpio>;
			interrupts = <TEGRA_GPIO(Q, 4) IRQ_TYPE_EDGE_FALLING>;
			key_maxval = <4>;
			linux,code = <KEY_MENU KEY_HOMEPAGE KEY_BACK KEY_SEARCH>;
		};
	};

	i2c@20 {
		compatible = "i2c-gpio";
		sda-gpios = <&gpio TEGRA_GPIO(X, 2) (GPIO_ACTIVE_HIGH | GPIO_OPEN_DRAIN)>;
		scl-gpios = <&gpio TEGRA_GPIO(X, 0) (GPIO_ACTIVE_HIGH | GPIO_OPEN_DRAIN)>;
		i2c-gpio,delay-us = <5>;
		#address-cells = <1>;
		#size-cells = <0>;

		stmpe1801@40 {
			compatible = "st,stmpe1801";
			reg = <0x40>;
			interrupt-parent = <&gpio>;
			interrupts = <TEGRA_GPIO(C, 7) IRQ_TYPE_EDGE_FALLING>;

			stmpe_keypad {
				compatible = "st,stmpe-keypad";
				debounce-interval = <10>;
				st,scan-count = <5>;
				st,no-autorepeat;
				keypad,num-rows = <8>;
				keypad,num-columns = <6>;

				linux,keymap = <
					/* row, col, code */
					MATRIX_KEY(0, 0, KEY_R)
					MATRIX_KEY(0, 1, KEY_G)
					MATRIX_KEY(0, 2, KEY_V)
					MATRIX_KEY(0, 3, KEY_LEFTMETA)
					MATRIX_KEY(0, 4, KEY_MENU)
					MATRIX_KEY(0, 5, KEY_HOME)

					MATRIX_KEY(1, 0, KEY_T)
					MATRIX_KEY(1, 1, KEY_H)
					MATRIX_KEY(1, 2, KEY_B)
					MATRIX_KEY(1, 3, KEY_RIGHTMETA)
					MATRIX_KEY(1, 4, KEY_Q)
					MATRIX_KEY(1, 5, KEY_RIGHTALT /* KEY_FN */)

					MATRIX_KEY(2, 0, KEY_Y)
					MATRIX_KEY(2, 1, KEY_J)
					MATRIX_KEY(2, 2, KEY_N)
					MATRIX_KEY(2, 3, KEY_SPACE)
					MATRIX_KEY(2, 4, KEY_A)
					MATRIX_KEY(2, 5, KEY_LEFTSHIFT)

					MATRIX_KEY(3, 0, KEY_U)
					MATRIX_KEY(3, 1, KEY_K)
					MATRIX_KEY(3, 2, KEY_M)
					MATRIX_KEY(3, 3, KEY_COMMA)
					MATRIX_KEY(3, 4, KEY_S)
					MATRIX_KEY(3, 5, KEY_Z)

					MATRIX_KEY(4, 0, KEY_I)
					MATRIX_KEY(4, 1, KEY_L)
					MATRIX_KEY(4, 2, KEY_LEFT)
					MATRIX_KEY(4, 3, KEY_DOT)
					MATRIX_KEY(4, 4, KEY_W)
					MATRIX_KEY(4, 5, KEY_X)

					MATRIX_KEY(5, 0, KEY_O)
					MATRIX_KEY(5, 1, KEY_UP)
					MATRIX_KEY(5, 2, KEY_ENTER /* KEY_OK */)
					MATRIX_KEY(5, 3, KEY_QUESTION)
					MATRIX_KEY(5, 4, KEY_E)
					MATRIX_KEY(5, 5, KEY_C)

					MATRIX_KEY(6, 0, KEY_P)
					MATRIX_KEY(6, 1, KEY_KPENTER /* KEY_ENTER */)
					MATRIX_KEY(6, 2, KEY_RIGHT)
					MATRIX_KEY(6, 3, KEY_DOWN)
					MATRIX_KEY(6, 4, KEY_D)

					MATRIX_KEY(7, 0, KEY_BACKSPACE /* KEY_DELETE */)
					MATRIX_KEY(7, 1, KEY_BACK)
					MATRIX_KEY(7, 2, KEY_SEARCH)
					MATRIX_KEY(7, 3, KEY_WWW)
					MATRIX_KEY(7, 4, KEY_F)
					MATRIX_KEY(7, 5, KEY_RIGHTALT /* KEY_FN */) >;
			};

			stmpegpio: stmpe_gpio {
				compatible = "st,stmpe-gpio";
				st,norequest-mask = <0x7fff>;
				gpio-controller;
				#gpio-cells = <2>;
				interrupt-controller;
				#interrupt-cells = <2>;
			};
		};
	};

	leds {
		compatible = "gpio-leds";

		kbd {
			label = "Keyboard backlight";
			gpios = <&gpio TEGRA_GPIO(L, 5) GPIO_ACTIVE_HIGH>;
			/*
			 * Looks like there's no way to specify GPIO for trigger in DT.
			 * So keyboard hall GPIO is PW3, which number is 179.
			 * (See TEGRA_GPIO() macro)
			 * To enable this trigger:
			 * echo gpio > /sys/class/leds/Keyboard\ backlight/trigger
			 * echo 179 > /sys/class/leds/Keyboard\ backlight/gpio
			 */
			linux,default-trigger = "gpio";
			default-state = "off";
		};
	};

	pmc@7000e400 {
		nvidia,invert-interrupt;
		nvidia,suspend-mode = <0>;
		nvidia,cpu-pwr-good-time = <2000>;
		nvidia,cpu-pwr-off-time = <0>;
		nvidia,core-pwr-good-time = <0x7e7e 0x7e7e>;
		nvidia,core-pwr-off-time = <0>;
		nvidia,core-power-req-active-high;
		nvidia,sys-clock-req-active-high;
		nvidia,lp0-vec = <0x1819E000 8192>;
	};

	memory-controller@7000f400 {
		emc-table@25000 {
			compatible = "nvidia,tegra20-emc-table";
			reg = <25000>;
			clock-frequency = < 25000 >;   /* SDRAM frquency */
			nvidia,emc-registers = <
				0x00000002 /* RC */
				0x00000006 /* RFC */
				0x00000003 /* RAS */
				0x00000003 /* RP */
				0x00000006 /* R2W */
				0x00000004 /* W2R */
				0x00000002 /* R2P */
				0x0000000b /* W2P */
				0x00000003 /* RD_RCD */
				0x00000003 /* WR_RCD */
				0x00000002 /* RRD */
				0x00000002 /* REXT */
				0x00000003 /* WDV */
				0x00000005 /* QUSE */
				0x00000004 /* QRST */
				0x00000008 /* QSAFE */
				0x0000000c /* RDV */
				0x0000004d /* REFRESH */
				0x00000000 /* BURST_REFRESH_NUM */
				0x00000003 /* PDEX2WR */
				0x00000003 /* PDEX2RD */
				0x00000003 /* PCHG2PDEN */
				0x00000008 /* ACT2PDEN */
				0x00000001 /* AR2PDEN */
				0x0000000b /* RW2PDEN */
				0x00000004 /* TXSR */
				0x00000003 /* TCKE */
				0x00000008 /* TFAW */
				0x00000004 /* TRPAB */
				0x00000008 /* TCLKSTABLE */
				0x00000002 /* TCLKSTOP */
				0x00000068 /* TREFBW */
				0x00000000 /* QUSE_EXTRA */
				0x00000003 /* FBIO_CFG6 */
				0x00000000 /* ODT_WRITE */
				0x00000000 /* ODT_READ */
				0x00000082 /* FBIO_CFG5 */
				0xa06a04ae /* CFG_DIG_DLL */
				0x00080000 /* DLL_XFORM_DQS */
				0x00000000 /* DLL_XFORM_QUSE */
				0x00000000 /* ZCAL_REF_CNT */
				0x00000003 /* ZCAL_WAIT_CNT */
				0x00000000 /* AUTO_CAL_INTERVAL */
				0x00000000 /* CFG_CLKTRIM_0 */
				0x00000000 /* CFG_CLKTRIM_1 */
				0x00000000 /* CFG_CLKTRIM_2 */
			>;
		};

		emc-table@50000 {
			compatible = "nvidia,tegra20-emc-table";
			reg = <50000>;
			clock-frequency = < 50000 >;   /* SDRAM frquency */
			nvidia,emc-registers = <
				0x00000003 /* RC */
				0x00000007 /* RFC */
				0x00000003 /* RAS */
				0x00000003 /* RP */
				0x00000006 /* R2W */
				0x00000004 /* W2R */
				0x00000002 /* R2P */
				0x0000000b /* W2P */
				0x00000003 /* RD_RCD */
				0x00000003 /* WR_RCD */
				0x00000002 /* RRD */
				0x00000002 /* REXT */
				0x00000003 /* WDV */
				0x00000006 /* QUSE */
				0x00000004 /* QRST */
				0x00000008 /* QSAFE */
				0x0000000c /* RDV */
				0x0000009f /* REFRESH */
				0x00000000 /* BURST_REFRESH_NUM */
				0x00000003 /* PDEX2WR */
				0x00000003 /* PDEX2RD */
				0x00000003 /* PCHG2PDEN */
				0x00000008 /* ACT2PDEN */
				0x00000001 /* AR2PDEN */
				0x0000000b /* RW2PDEN */
				0x00000007 /* TXSR */
				0x00000003 /* TCKE */
				0x00000008 /* TFAW */
				0x00000004 /* TRPAB */
				0x00000008 /* TCLKSTABLE */
				0x00000002 /* TCLKSTOP */
				0x000000d0 /* TREFBW */
				0x00000000 /* QUSE_EXTRA */
				0x00000000 /* FBIO_CFG6 */
				0x00000000 /* ODT_WRITE */
				0x00000000 /* ODT_READ */
				0x00000082 /* FBIO_CFG5 */
				0xa06a04ae /* CFG_DIG_DLL */
				0x00080000 /* DLL_XFORM_DQS */
				0x00000000 /* DLL_XFORM_QUSE */
				0x00000000 /* ZCAL_REF_CNT */
				0x00000005 /* ZCAL_WAIT_CNT */
				0x00000000 /* AUTO_CAL_INTERVAL */
				0x00000000 /* CFG_CLKTRIM_0 */
				0x00000000 /* CFG_CLKTRIM_1 */
				0x00000000 /* CFG_CLKTRIM_2 */
			>;
		};

		emc-table@75000 {
			compatible = "nvidia,tegra20-emc-table";
			reg = <75000>;
			clock-frequency = < 75000 >;   /* SDRAM frquency */
			nvidia,emc-registers = <
				0x00000005 /* RC */
				0x0000000a /* RFC */
				0x00000004 /* RAS */
				0x00000003 /* RP */
				0x00000006 /* R2W */
				0x00000004 /* W2R */
				0x00000002 /* R2P */
				0x0000000b /* W2P */
				0x00000003 /* RD_RCD */
				0x00000003 /* WR_RCD */
				0x00000002 /* RRD */
				0x00000002 /* REXT */
				0x00000003 /* WDV */
				0x00000006 /* QUSE */
				0x00000004 /* QRST */
				0x00000008 /* QSAFE */
				0x0000000c /* RDV */
				0x000000ff /* REFRESH */
				0x00000000 /* BURST_REFRESH_NUM */
				0x00000003 /* PDEX2WR */
				0x00000003 /* PDEX2RD */
				0x00000003 /* PCHG2PDEN */
				0x00000008 /* ACT2PDEN */
				0x00000001 /* AR2PDEN */
				0x0000000b /* RW2PDEN */
				0x0000000b /* TXSR */
				0x00000003 /* TCKE */
				0x00000008 /* TFAW */
				0x00000004 /* TRPAB */
				0x00000008 /* TCLKSTABLE */
				0x00000002 /* TCLKSTOP */
				0x00000138 /* TREFBW */
				0x00000000 /* QUSE_EXTRA */
				0x00000000 /* FBIO_CFG6 */
				0x00000000 /* ODT_WRITE */
				0x00000000 /* ODT_READ */
				0x00000082 /* FBIO_CFG5 */
				0xa06a04ae /* CFG_DIG_DLL */
				0x00080000 /* DLL_XFORM_DQS */
				0x00000000 /* DLL_XFORM_QUSE */
				0x00000000 /* ZCAL_REF_CNT */
				0x00000007 /* ZCAL_WAIT_CNT */
				0x00000000 /* AUTO_CAL_INTERVAL */
				0x00000000 /* CFG_CLKTRIM_0 */
				0x00000000 /* CFG_CLKTRIM_1 */
				0x00000000 /* CFG_CLKTRIM_2 */
			>;
		};

		emc-table@150000 {
			compatible = "nvidia,tegra20-emc-table";
			reg = <150000>;
			clock-frequency = < 150000 >;   /* SDRAM frquency */
			nvidia,emc-registers = <
				0x00000009 /* RC */
				0x00000014 /* RFC */
				0x00000007 /* RAS */
				0x00000003 /* RP */
				0x00000006 /* R2W */
				0x00000004 /* W2R */
				0x00000002 /* R2P */
				0x0000000b /* W2P */
				0x00000003 /* RD_RCD */
				0x00000003 /* WR_RCD */
				0x00000002 /* RRD */
				0x00000002 /* REXT */
				0x00000003 /* WDV */
				0x00000006 /* QUSE */
				0x00000004 /* QRST */
				0x00000008 /* QSAFE */
				0x0000000c /* RDV */
				0x0000021f /* REFRESH */
				0x00000000 /* BURST_REFRESH_NUM */
				0x00000003 /* PDEX2WR */
				0x00000003 /* PDEX2RD */
				0x00000003 /* PCHG2PDEN */
				0x00000008 /* ACT2PDEN */
				0x00000001 /* AR2PDEN */
				0x0000000b /* RW2PDEN */
				0x00000015 /* TXSR */
				0x00000003 /* TCKE */
				0x00000008 /* TFAW */
				0x00000004 /* TRPAB */
				0x00000008 /* TCLKSTABLE */
				0x00000002 /* TCLKSTOP */
				0x00000270 /* TREFBW */
				0x00000000 /* QUSE_EXTRA */
				0x00000001 /* FBIO_CFG6 */
				0x00000000 /* ODT_WRITE */
				0x00000000 /* ODT_READ */
				0x00000082 /* FBIO_CFG5 */
				0xa04c04ae /* CFG_DIG_DLL */
				0x007dea10 /* DLL_XFORM_DQS */
				0x00000000 /* DLL_XFORM_QUSE */
				0x00000000 /* ZCAL_REF_CNT */
				0x0000000e /* ZCAL_WAIT_CNT */
				0x00000000 /* AUTO_CAL_INTERVAL */
				0x00000000 /* CFG_CLKTRIM_0 */
				0x00000000 /* CFG_CLKTRIM_1 */
				0x00000000 /* CFG_CLKTRIM_2 */
			>;
		};

		emc-table@300000 {
			compatible = "nvidia,tegra20-emc-table";
			reg = <300000>;
			clock-frequency = < 300000 >;   /* SDRAM frquency */
			nvidia,emc-registers = <
				0x00000012 /* RC */
				0x00000027 /* RFC */
				0x0000000d /* RAS */
				0x00000006 /* RP */
				0x00000007 /* R2W */
				0x00000005 /* W2R */
				0x00000003 /* R2P */
				0x0000000b /* W2P */
				0x00000006 /* RD_RCD */
				0x00000006 /* WR_RCD */
				0x00000003 /* RRD */
				0x00000003 /* REXT */
				0x00000003 /* WDV */
				0x00000007 /* QUSE */
				0x00000004 /* QRST */
				0x00000009 /* QSAFE */
				0x0000000d /* RDV */
				0x0000045f /* REFRESH */
				0x00000000 /* BURST_REFRESH_NUM */
				0x00000004 /* PDEX2WR */
				0x00000004 /* PDEX2RD */
				0x00000006 /* PCHG2PDEN */
				0x00000008 /* ACT2PDEN */
				0x00000001 /* AR2PDEN */
				0x0000000f /* RW2PDEN */
				0x0000002a /* TXSR */
				0x00000003 /* TCKE */
				0x0000000f /* TFAW */
				0x00000007 /* TRPAB */
				0x00000007 /* TCLKSTABLE */
				0x00000002 /* TCLKSTOP */
				0x000004e0 /* TREFBW */
				0x00000006 /* QUSE_EXTRA */
				0x00000002 /* FBIO_CFG6 */
				0x00000000 /* ODT_WRITE */
				0x00000000 /* ODT_READ */
				0x00000282 /* FBIO_CFG5 */
				0xe03c048b /* CFG_DIG_DLL */
				0x007e0010 /* DLL_XFORM_DQS */
				0x00000000 /* DLL_XFORM_QUSE */
				0x00000000 /* ZCAL_REF_CNT */
				0x0000001b /* ZCAL_WAIT_CNT */
				0x00000000 /* AUTO_CAL_INTERVAL */
				0x00000000 /* CFG_CLKTRIM_0 */
				0x00000000 /* CFG_CLKTRIM_1 */
				0x00000000 /* CFG_CLKTRIM_2 */
			>;
		};
	};

	/*
	 * There's funny thing going on with OTG power
	 * which I don't know how to fix properly.
	 * When the OTG cable is plugged in, USB
	 * controller detects this and enables VBUS
	 * power. However, charger thinks that the
	 * charging cable is plugged in and enables
	 * charging. After that there's no power on
	 * the port :)
	 *
	 * So we use a bit modified driver with "dummy"
	 * regulator which disables charging when enabled.
	 */
	usb@c5000000 {
		compatible = "nvidia,tegra20-udc";
		status = "okay";
		vbus-supply = <&otg_reg>;
	};

	usb-phy@c5000000 {
		status = "okay";
		dr_mode = "otg";
		vbus-supply = <&usb_phy_reg>;
	};

#if 0
	usb@c5004000 {
		status = "okay";
	};

	usb-phy@c5004000 {
		status = "okay";
	};
#endif

	wifi_pwrseq: bcm4330_pwrseq {
		compatible = "mmc-pwrseq-simple";
		clocks = <&tegra_pmc TEGRA_PMC_CLK_BLINK>;
		clock-names = "ext_clock";
		power-off-delay-us = <200000>;
		post-power-on-delay-ms = <200>;
	};

	mmc@c8000000 {
		status = "okay";
		bus-width = <4>;
		power-gpios = <&gpio TEGRA_GPIO(J, 2) GPIO_ACTIVE_HIGH>;
		mmc-pwrseq = <&wifi_pwrseq>;
		non-removable;
		wakeup-source;
		post-power-on-delay-ms = <100>;
		no-1-8-v;

		#address-cells = <1>;
		#size-cells = <0>;

		bcm4330@1 {
			reg = <1>;
			comaptible = "brcm,bcm4329-fmac";
			interrupt-parent = <&gpio>;
		};

	};

	// SD card
	mmc@c8000400 {
		status = "okay";
		bus-width = <4>;
		// cd-gpios = <&stmpegpio 16 GPIO_ACTIVE_HIGH>;
		cd-gpios = <&gpio TEGRA_GPIO(V, 6) GPIO_ACTIVE_HIGH>;
		vmmc-supply = <&vmmc_reg>;
		post-power-on-delay-ms = <100>;
		disable-wp;
		broken-cd;
		keep-power-in-suspend;
		no-1-8-v;
	};

	// internal memory
	mmc@c8000600 {
		status = "okay";
		bus-width = <8>;
		non-removable;
		disable-wp;
		keep-power-in-suspend;
	};

	clk32k_in: clock@0 {
		compatible = "fixed-clock";
		#clock-cells = <0>;
		clock-frequency = <32768>;
	};

	gpio-keys {
		compatible = "gpio-keys";

		power {
			label = "Power";
			gpios = <&gpio TEGRA_GPIO(U, 5) GPIO_ACTIVE_HIGH>;
			linux,code = <KEY_POWER>;
			debounce-interval = <10>;
			wakeup-source;
		};

		vol_up {
			label = "Volume up";
			gpios = <&gpio TEGRA_GPIO(Q, 1) GPIO_ACTIVE_LOW>;
			linux,code = <KEY_VOLUMEUP>;
			debounce-interval = <10>;
		};

		vol_down {
			label = "Volume down";
			gpios = <&gpio TEGRA_GPIO(Q, 2) GPIO_ACTIVE_LOW>;
			linux,code = <KEY_VOLUMEDOWN>;
			debounce-interval = <10>;
		};

		hall {
			label = "Keyboard slide";
			gpios = <&gpio TEGRA_GPIO(W, 3) GPIO_ACTIVE_LOW>;
			linux,input-type = <EV_SW>;
			linux,code = <SW_KEYPAD_SLIDE>;
		};
	};

	spi@7000d800 {
		status = "okay";
		spi-max-frequency = <1000000>;

		panel: panel@2 {
			compatible = "samsung,s6e63m0";
			reg = <2>;
			spi-max-frequency = <1000000>;
			spi-cpol;
			spi-cpha;
			vdd3-supply = <&vlcd_1v8>;
			vci-supply = <&vlcd_3v0>;
			reset-gpios = <&gpio TEGRA_GPIO(C, 1) GPIO_ACTIVE_LOW>;
			panel-width-mm = <52>;
			panel-height-mm = <87>;
			/* 25 + 1 for regulator */
			power-on-delay = <26>;
			reset-delay = <10>;

			display-timings {
				timing {
					clock-frequency = <25000000>;
					hactive = <480>;
					vactive = <800>;
					hfront-porch = <16>;
					vfront-porch = <27>; // 28
					hback-porch = <16>;
					vback-porch = <2>; // 1
					hsync-len = <2>;
					vsync-len = <2>;
					hsync-active = <0>;
					vsync-active = <0>;
					nvidia,h-ref-to-sync = <1>; // 0
					nvidia,v-ref-to-sync = <1>;
				};
			};
		};

	};

	power-domain-core {
		power-supply = <&vdd_core>;
	};

	pmic_reg: regulator@0 {
		compatible = "regulator-fixed";
		regulator-name = "usb0_vbus";
		regulator-min-microvolt = <5000000>;
		regulator-max-microvolt = <5000000>;
		regulator-always-on;
		regulator-boot-on;
	};

	vdd_5v0_hdmi: regulator@1 {
		compatible = "regulator-fixed";
		regulator-name = "+5V_HDMI_CON";
		regulator-min-microvolt = <5000000>;
		regulator-max-microvolt = <5000000>;
	};

	vdd_hdmi_ldo: regulator@2 {
		compatible = "regulator-fixed";
		regulator-name = "vdd-hdmi-ldo";
		regulator-min-microvolt = <1200000>;
		regulator-max-microvolt = <1200000>;
		gpio = <&gpio TEGRA_GPIO(H, 2) GPIO_ACTIVE_HIGH>;
		enable-active-high;
	};

	otg_reg: regulator@3 {
		compatible = "regulator-fixed";
		regulator-name = "otg-en";
		regulator-min-microvolt = <5000000>;
		regulator-max-microvolt = <5000000>;
		gpio = <&gpio TEGRA_GPIO(R, 7) GPIO_ACTIVE_HIGH>;
		enable-active-high;
		/*
			* CI HDRC controller requires delay in 100ms, but
			* this thing is so slow!
			*/
		regulator-enable-ramp-delay = <350000>;
		vin-supply = <&charger_supply>;
	};

	gps_en: regulator@4 {
		compatible = "regulator-fixed";
		regulator-name = "gps-en";
		regulator-min-microvolt = <3300000>;
		regulator-max-microvolt = <3300000>;
		// gpio = <&gpio TEGRA_GPIO(N, 6) GPIO_ACTIVE_HIGH>;
		// gpio = <&gpio TEGRA_GPIO(B, 2) GPIO_ACTIVE_HIGH>;
	};

	front_2_back_3: regulator@5 {
		compatible = "regulator-fixed";
		regulator-name = "cam-pmic-en2";
		/* voltage is unknown */
		regulator-min-microvolt = <1800000>;
		regulator-max-microvolt = <1800000>;
		gpio = <&gpio TEGRA_GPIO(T, 3) GPIO_ACTIVE_HIGH>;
		enable-active-high;
	};

	/*
		* on m5mo, this needs to be disabled after
		* cam-vt-nrst GPIO, but I don't know how to
		* write this here properly. Probably will need
		* to dance with pinmux?
		*/
	front_6_back_8_10: regulator@6 {
		compatible = "regulator-fixed";
		regulator-name = "cam-vt-nstby";
		/* voltage is unknown */
		regulator-min-microvolt = <3300000>;
		regulator-max-microvolt = <3300000>;
		gpio = <&gpio TEGRA_GPIO(D, 5) GPIO_ACTIVE_HIGH>;
		enable-active-high;
	};

	front_7_back_9: regulator@7 {
		compatible = "regulator-fixed";
		regulator-name = "cam-vt-nrst";
		/* voltage is unknown */
		regulator-min-microvolt = <1800000>;
		regulator-max-microvolt = <1800000>;
		gpio = <&gpio TEGRA_GPIO(T, 4) GPIO_ACTIVE_HIGH>;
		enable-active-high;
	};

	back_2: regulator@8 {
		compatible = "regulator-fixed";
		regulator-name = "cam-mega-core-1p2-en";
		regulator-min-microvolt = <1200000>;
		regulator-max-microvolt = <1200000>;
		gpio = <&gpio TEGRA_GPIO(R, 0) GPIO_ACTIVE_HIGH>;
		enable-active-high;
	};

	wlf_ldo: regulator@9 {
		compatible = "regulator-fixed";
		regulator-name = "wlf-wm8994-ldo";
		gpio = <&gpio TEGRA_GPIO(X, 5) GPIO_ACTIVE_HIGH>;
		regulator-enable-ramp-delay = <125000>;
		regulator-boot-on;
		enable-active-high;
	};

	sound {
		compatible = "nvidia,tegra-audio-wm8994";
		nvidia,model = "wm8994-aif1";

		nvidia,i2s-controller = <&tegra_i2s1>;
		nvidia,audio-codec = <&wm8994>;

		clocks = <&tegra_car TEGRA20_CLK_PLL_A>,
			 <&tegra_car TEGRA20_CLK_PLL_A_OUT0>,
			 <&tegra_car TEGRA20_CLK_CDEV1>;
		clock-names = "pll_a", "pll_a_out0", "mclk";

		nvidia,ear-sel-gpios = <&gpio TEGRA_GPIO(I, 4) GPIO_ACTIVE_HIGH>;
		nvidia,int-mic-en-gpios = <&gpio TEGRA_GPIO(X, 6) GPIO_ACTIVE_HIGH>;
		nvidia,ext-mic-en-gpios = <&gpio TEGRA_GPIO(H, 3) GPIO_ACTIVE_HIGH>;
		nvidia,hp-det-gpios = <&gpio TEGRA_GPIO(L, 3) GPIO_ACTIVE_HIGH>;

		nvidia,audio-routing =
			"Int Spk", "SPKOUTLP",
			"Int Spk", "SPKOUTLN",
			"Headphone Jack", "HPOUT1L",
			"Headphone Jack", "HPOUT1R",
			"Earpiece Spk", "HPOUT2P",
			"Earpiece Spk", "HPOUT2N",
			"IN1LP", "Mic Jack",
			"IN1LN", "Mic Jack";
		/* TODO: routes for modem and, probably, BT SCO */
	};
};
